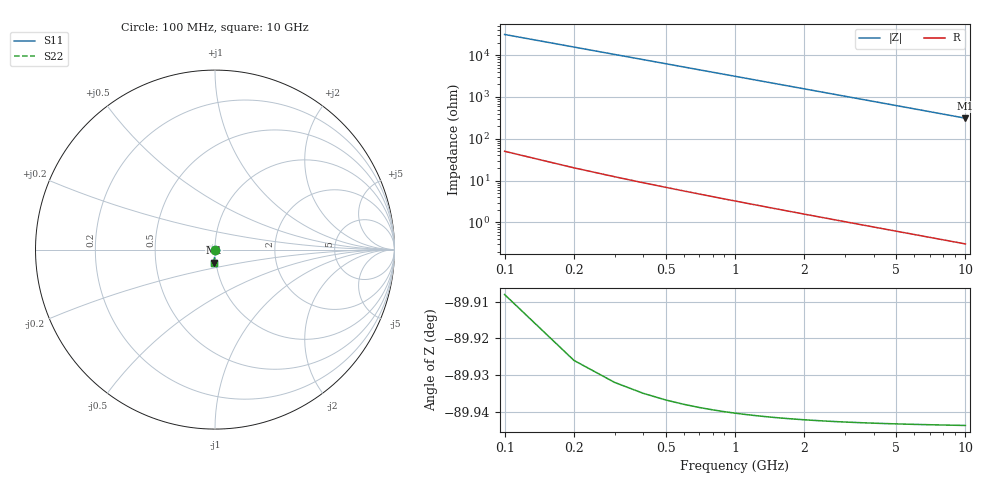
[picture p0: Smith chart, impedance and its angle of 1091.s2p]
# Hz S RI R 50.00
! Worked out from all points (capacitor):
!   100 points, 100 MHz to 10 GHz, reference 50 ohm
!   read as one part in shunt: C = 50.7 fF near 100 MHz
!   lowest |Z| = 312 ohm at 10 GHz (marker M1)
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1e8  4.85e-05 -0.000721  0.9999 -0.000871  0.9999 -0.000871  4.85e-05 -0.000721
2e8  4.62e-05 -0.00144  0.9999 -0.00174  0.9999 -0.00174  4.62e-05 -0.00144
3e8  4.26e-05 -0.00216  0.9999 -0.00261  0.9999 -0.00261  4.26e-05 -0.00216
4e8  3.76e-05 -0.00288  0.9999 -0.00349  0.9999 -0.00349  3.76e-05 -0.00288
5e8  3.13e-05 -0.0036  0.9999 -0.00436  0.9999 -0.00436  3.13e-05 -0.0036
6e8  2.38e-05 -0.00433  0.9999 -0.00523  0.9999 -0.00523  2.38e-05 -0.00433
7e8  1.5e-05 -0.00505  0.9999 -0.0061  0.9999 -0.0061  1.5e-05 -0.00505
8e8  4.94e-06 -0.00577  0.9999 -0.00697  0.9999 -0.00697  4.94e-06 -0.00577
9e8  -6.4e-06 -0.00649  0.9999 -0.00784  0.9999 -0.00784  -6.4e-06 -0.00649
1.1e9  -3.29e-05 -0.00793  0.9999 -0.00959  0.9999 -0.00959  -3.29e-05 -0.00793
1.4e9  -8.2e-05 -0.0101  0.9998 -0.0122  0.9998 -0.0122  -8.2e-05 -0.0101
1.8e9  -0.000165 -0.013  0.9997 -0.0157  0.9997 -0.0157  -0.000165 -0.013
2.1e9  -0.000241 -0.0151  0.9996 -0.0183  0.9996 -0.0183  -0.000241 -0.0151
2.5e9  -0.00036 -0.018  0.9995 -0.0218  0.9995 -0.0218  -0.00036 -0.018
2.9e9  -0.000498 -0.0209  0.9994 -0.0253  0.9994 -0.0253  -0.000498 -0.0209
3.4e9  -0.0007 -0.0245  0.9992 -0.0296  0.9992 -0.0296  -0.0007 -0.0245
4.2e9  -0.00109 -0.0303  0.9988 -0.0366  0.9988 -0.0366  -0.00109 -0.0303
5.1e9  -0.00162 -0.0368  0.9982 -0.0445  0.9982 -0.0445  -0.00162 -0.0368
5.9e9  -0.00219 -0.0426  0.9977 -0.0515  0.9977 -0.0515  -0.00219 -0.0426
6.7e9  -0.00283 -0.0483  0.997 -0.0584  0.997 -0.0584  -0.00283 -0.0483
8.4e9  -0.00446 -0.0605  0.9953 -0.0732  0.9953 -0.0732  -0.00446 -0.0605
1e10  -0.00634 -0.072  0.9934 -0.0872  0.9934 -0.0872  -0.00634 -0.072
